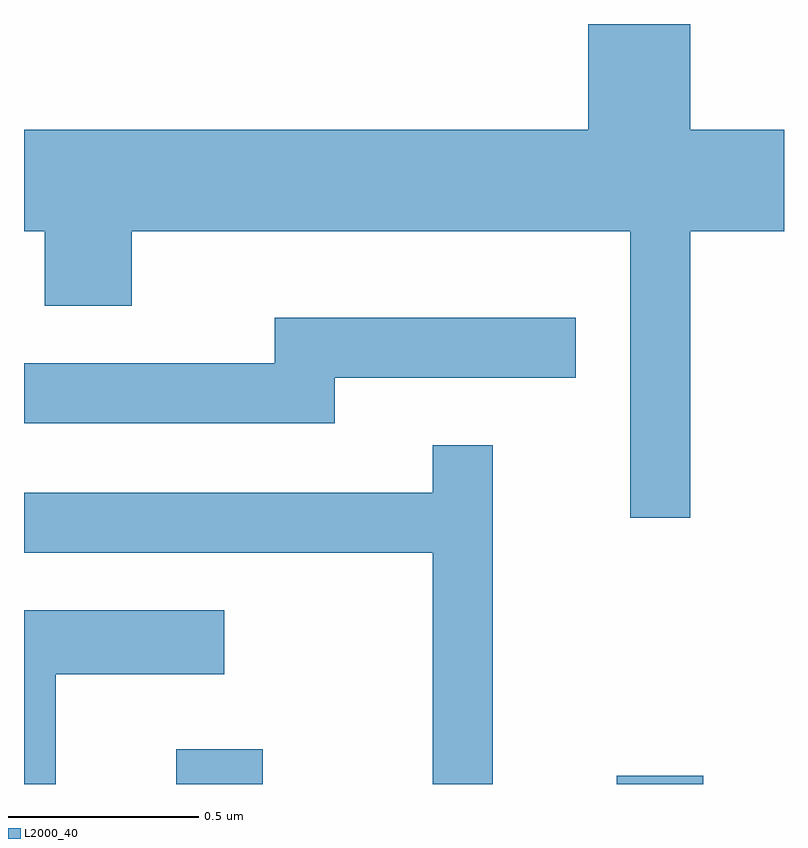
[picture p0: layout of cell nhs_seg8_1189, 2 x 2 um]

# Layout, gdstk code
import gdstk
lib = gdstk.Library(unit=1e-6, precision=1e-09)
def R(c, l, rs):  # rectangles x0, y0, x1, y1
    for r in rs: c.add(gdstk.rectangle(r[:2], r[2:], *l))
def P(c, l, *ps):  # polygons
    for p in ps: c.add(gdstk.Polygon(p, *l))
L2000_40 = (2000, 40)

nhs_seg8_1189 = lib.new_cell('nhs_seg8_1189')
R(nhs_seg8_1189, L2000_40, [(194.011,1899.342,194.239,1899.434), (195.171,1899.342,195.399,1899.364)])
P(nhs_seg8_1189, L2000_40, [(195.364,1900.796),(195.611,1900.796),(195.611,1901.064),(195.364,1901.064),(195.364,1901.342),(195.096,1901.342),(195.096,1901.064),(193.611,1901.064),(193.611,1900.796),(193.666,1900.796),(193.666,1900.601),(193.894,1900.601),(193.894,1900.796),(195.206,1900.796),(195.206,1900.043),(195.364,1900.043)],
  [(194.429,1900.411),(195.063,1900.411),(195.063,1900.569),(194.271,1900.569),(194.271,1900.449),(193.611,1900.449),(193.611,1900.291),(194.429,1900.291)],
  [(194.844,1900.233),(194.686,1900.233),(194.686,1900.109),(193.611,1900.109),(193.611,1899.951),(194.686,1899.951),(194.686,1899.342),(194.844,1899.342)],
  [(193.694,1899.631),(194.138,1899.631),(194.138,1899.799),(193.611,1899.799),(193.611,1899.342),(193.694,1899.342)])

lib.write_gds('nhs_seg8_1189.gds')
